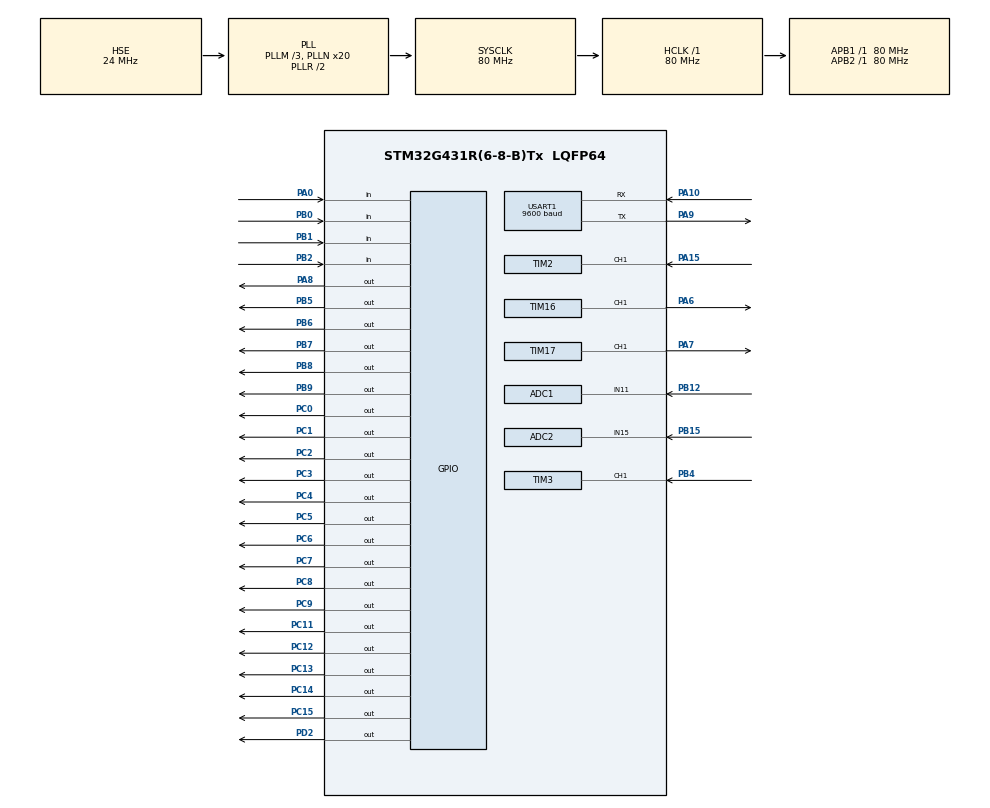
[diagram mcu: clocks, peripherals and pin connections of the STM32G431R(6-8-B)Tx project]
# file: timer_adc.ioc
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ADC1.Channel-0\#ChannelRegularConversion=ADC_CHANNEL_11
ADC1.NbrOfConversionFlag=1
ADC1.OffsetNumber-0\#ChannelRegularConversion=ADC_OFFSET_NONE
ADC1.Rank-0\#ChannelRegularConversion=1
ADC1.SamplingTime-0\#ChannelRegularConversion=ADC_SAMPLETIME_2CYCLES_5
ADC1.master=1
ADC2.Channel-0\#ChannelRegularConversion=ADC_CHANNEL_15
ADC2.NbrOfConversionFlag=1
ADC2.OffsetNumber-0\#ChannelRegularConversion=ADC_OFFSET_NONE
ADC2.Rank-0\#ChannelRegularConversion=1
ADC2.SamplingTime-0\#ChannelRegularConversion=ADC_SAMPLETIME_2CYCLES_5
Mcu.Family=STM32G4
Mcu.Name=STM32G431R(6-8-B)Tx
Mcu.Package=LQFP64
NVIC.PriorityGroup=NVIC_PRIORITYGROUP_4
NVIC.TIM2_IRQn=true\:0\:0\:false\:false\:true\:true\:true\:true
NVIC.TIM3_IRQn=true\:0\:0\:false\:false\:true\:true\:true\:true
NVIC.TIM4_IRQn=true\:0\:0\:false\:false\:true\:true\:true\:true
NVIC.USART1_IRQn=true\:0\:0\:false\:false\:true\:true\:true\:true
PA0.GPIO_PuPd=GPIO_PULLUP
PA0.Signal=GPIO_Input
PA10.Mode=Asynchronous
PA10.Signal=USART1_RX
PA15.Signal=S_TIM2_CH1
PA6.Signal=S_TIM16_CH1
PA7.Signal=S_TIM17_CH1
PA8.Signal=GPIO_Output
PA9.Mode=Asynchronous
PA9.Signal=USART1_TX
PB0.GPIO_PuPd=GPIO_PULLUP
PB0.Signal=GPIO_Input
PB1.GPIO_PuPd=GPIO_PULLUP
PB1.Signal=GPIO_Input
PB12.Mode=IN11-Single-Ended
PB12.Signal=ADC1_IN11
PB15.Mode=IN15-Single-Ended
PB15.Signal=ADC2_IN15
PB2.GPIO_PuPd=GPIO_PULLUP
PB2.Signal=GPIO_Input
PB4.Signal=S_TIM3_CH1
PB5.Signal=GPIO_Output
PB6.Signal=GPIO_Output
PB7.Signal=GPIO_Output
PB8-BOOT0.Signal=GPIO_Output
PB9.Signal=GPIO_Output
PC0.Signal=GPIO_Output
PC1.Signal=GPIO_Output
PC11.PinState=GPIO_PIN_SET
PC11.Signal=GPIO_Output
PC12.PinState=GPIO_PIN_SET
PC12.Signal=GPIO_Output
PC13.PinState=GPIO_PIN_SET
PC13.Signal=GPIO_Output
PC14-OSC32_IN.PinState=GPIO_PIN_SET
PC14-OSC32_IN.Signal=GPIO_Output
PC15-OSC32_OUT.PinState=GPIO_PIN_SET
PC15-OSC32_OUT.Signal=GPIO_Output
PC2.Signal=GPIO_Output
PC3.Signal=GPIO_Output
PC4.Signal=GPIO_Output
PC5.Signal=GPIO_Output
PC6.Signal=GPIO_Output
PC7.Signal=GPIO_Output
PC8.PinState=GPIO_PIN_SET
PC8.Signal=GPIO_Output
PC9.PinState=GPIO_PIN_SET
PC9.Signal=GPIO_Output
PD2.Signal=GPIO_Output
PF0-OSC_IN.Mode=HSE-External-Oscillator
PF0-OSC_IN.Signal=RCC_OSC_IN
PF1-OSC_OUT.Mode=HSE-External-Oscillator
PF1-OSC_OUT.Signal=RCC_OSC_OUT
ProjectManager.HeapSize=0x200
ProjectManager.StackSize=0x400
ProjectManager.TargetToolchain=MDK-ARM V5.32
RCC.ADC12Freq_Value=80000000
RCC.AHBFreq_Value=80000000
RCC.APB1Freq_Value=80000000
RCC.APB1TimFreq_Value=80000000
RCC.APB2Freq_Value=80000000
RCC.APB2TimFreq_Value=80000000
RCC.CortexFreq_Value=80000000
RCC.EXTERNAL_CLOCK_VALUE=12288000
RCC.HCLKFreq_Value=80000000
RCC.HSE_VALUE=24000000
RCC.HSI48_VALUE=48000000
RCC.HSI_VALUE=16000000
RCC.LSE_VALUE=32768
RCC.PLLM=RCC_PLLM_DIV3
RCC.PLLN=20
RCC.PLLSourceVirtual=RCC_PLLSOURCE_HSE
RCC.SYSCLKFreq_VALUE=80000000
RCC.SYSCLKSource=RCC_SYSCLKSOURCE_PLLCLK
RCC.USBFreq_Value=80000000
RCC.VCOOutputFreq_Value=160000000
SH.S_TIM16_CH1.0=TIM16_CH1,PWM Generation1 CH1
SH.S_TIM17_CH1.0=TIM17_CH1,PWM Generation1 CH1
SH.S_TIM2_CH1.0=TIM2_CH1,Input_Capture1_from_TI1
SH.S_TIM3_CH1.0=TIM3_CH1,Input_Capture1_from_TI1
TIM16.Channel=TIM_CHANNEL_1
TIM16.PeriodNoDither=100-1
TIM16.Prescaler=8000-1
TIM16.PulseNoDither_1=10
TIM17.Channel=TIM_CHANNEL_1
TIM17.PeriodNoDither=100-1
TIM17.Prescaler=4000-1
TIM17.PulseNoDither_1=10
TIM2.Channel-Input_Capture1_from_TI1=TIM_CHANNEL_1
TIM2.Channel-Input_Capture2_from_TI1_63=TIM_CHANNEL_2
TIM2.ICPolarity_CH2=TIM_INPUTCHANNELPOLARITY_FALLING
TIM2.Prescaler=80-1
TIM3.Channel-Input_Capture1_from_TI1=TIM_CHANNEL_1
TIM3.Channel-Input_Capture2_from_TI1_63=TIM_CHANNEL_2
TIM3.ICPolarity_CH2=TIM_INPUTCHANNELPOLARITY_FALLING
TIM3.Prescaler=80-1
TIM4.PeriodNoDither=10000-1
TIM4.Prescaler=80-1
USART1.BaudRate=9600
USART1.VirtualMode-Asynchronous=VM_ASYNC
VP_SYS_VS_DBSignals.Mode=DisableDeadBatterySignals
VP_TIM16_VS_ClockSourceINT.Mode=Enable_Timer
VP_TIM17_VS_ClockSourceINT.Mode=Enable_Timer
VP_TIM2_VS_ClockSourceINT.Mode=Internal
VP_TIM2_VS_indirect_ch1.Mode=Input_Capture2_from_TI1_63
VP_TIM3_VS_ClockSourceINT.Mode=Internal
VP_TIM3_VS_indirect_ch1.Mode=Input_Capture2_from_TI1_63
VP_TIM4_VS_ClockSourceINT.Mode=Internal
board=custom

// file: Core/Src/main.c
/* USER CODE BEGIN Header */
/**
  ******************************************************************************
  * @file           : main.c
  * @brief          : Main program body
  ******************************************************************************
  * @attention
  *
  * Copyright (c) 2024 STMicroelectronics.
  * All rights reserved.
  *
  * This software is licensed under terms that can be found in the LICENSE file
  * in the root directory of this software component.
  * If no LICENSE file comes with this software, it is provided AS-IS.
  *
  ******************************************************************************
  */
/* USER CODE END Header */
#include "main.h"
#include "adc.h"
#include "tim.h"
#include "usart.h"
#include "gpio.h"

/* USER CODE BEGIN Includes */
#include "led.h"
#include "lcd.h"
#include "i2c_hal.h"
#include "timer.h"
#include "myusart.h"
#include "myadc.h"
#include "stdio.h"
#include "String.h"

/* USER CODE END Includes */

void SystemClock_Config(void);
/* USER CODE BEGIN PFP */
void lcd_proc(void);
void key_proc(void);

/* USER CODE END PFP */

/* USER CODE BEGIN 0 */

//lcd灯
unsigned char ucled=0x00;

//保存lcd显示屏的要显示的数据
unsigned char text[30];

//减速函数
__IO uint32_t uwTick_lcd;//控制lcd显示的速度

//pa6\pa7的占空比
unsigned char pa6_duty=10;
unsigned char pa7_duty=10;

//pb15\pb12的电压
double pb15_v=0;//R37
double pb12_v=0;//R38

/* USER CODE END 0 */

int main(void)
{

  /* MCU Configuration--------------------------------------------------------*/

  /* Reset of all peripherals, Initializes the Flash interface and the Systick. */
  HAL_Init();

  /* Configure the system clock */
  SystemClock_Config();

  /* Initialize all configured peripherals */
  MX_GPIO_Init();
  MX_ADC1_Init();
  MX_ADC2_Init();
  MX_TIM2_Init();
  MX_TIM3_Init();
  MX_TIM4_Init();
  MX_TIM16_Init();
  MX_TIM17_Init();
  MX_USART1_UART_Init();
  /* USER CODE BEGIN 2 */
    led_disp(ucled);

    LCD_Init();
    LCD_Clear(White);
    LCD_SetBackColor(White);
    LCD_SetTextColor(Blue2);

    //使能定时器4
    HAL_TIM_Base_Start_IT(&htim4);

    //打开定时器PWM输出
    HAL_TIM_PWM_Start(&htim16,TIM_CHANNEL_1);
    HAL_TIM_PWM_Start(&htim17,TIM_CHANNEL_1);

    //打开定时器输入捕获
    HAL_TIM_IC_Start_IT(&htim2,TIM_CHANNEL_1);
    HAL_TIM_IC_Start_IT(&htim3,TIM_CHANNEL_1);

    HAL_UART_Receive_IT(&huart1,&rxdat,1);

  /* USER CODE END 2 */

  /* Infinite loop */
  while (1)
  {
      key_proc();
    lcd_proc();
  }
}

void SystemClock_Config(void)
{
  RCC_OscInitTypeDef RCC_OscInitStruct = {0};
  RCC_ClkInitTypeDef RCC_ClkInitStruct = {0};

  /** Configure the main internal regulator output voltage
  */
  HAL_PWREx_ControlVoltageScaling(PWR_REGULATOR_VOLTAGE_SCALE1);

  /** Initializes the RCC Oscillators according to the specified parameters
  * in the RCC_OscInitTypeDef structure.
  */
  RCC_OscInitStruct.OscillatorType = RCC_OSCILLATORTYPE_HSE;
  RCC_OscInitStruct.HSEState = RCC_HSE_ON;
  RCC_OscInitStruct.PLL.PLLState = RCC_PLL_ON;
  RCC_OscInitStruct.PLL.PLLSource = RCC_PLLSOURCE_HSE;
  RCC_OscInitStruct.PLL.PLLM = RCC_PLLM_DIV3;
  RCC_OscInitStruct.PLL.PLLN = 20;
  RCC_OscInitStruct.PLL.PLLP = RCC_PLLP_DIV2;
  RCC_OscInitStruct.PLL.PLLQ = RCC_PLLQ_DIV2;
  RCC_OscInitStruct.PLL.PLLR = RCC_PLLR_DIV2;
  if (HAL_RCC_OscConfig(&RCC_OscInitStruct) != HAL_OK)
  {
    Error_Handler();
  }

  /** Initializes the CPU, AHB and APB buses clocks
  */
  RCC_ClkInitStruct.ClockType = RCC_CLOCKTYPE_HCLK|RCC_CLOCKTYPE_SYSCLK
                              |RCC_CLOCKTYPE_PCLK1|RCC_CLOCKTYPE_PCLK2;
  RCC_ClkInitStruct.SYSCLKSource = RCC_SYSCLKSOURCE_PLLCLK;
  RCC_ClkInitStruct.AHBCLKDivider = RCC_SYSCLK_DIV1;
  RCC_ClkInitStruct.APB1CLKDivider = RCC_HCLK_DIV1;
  RCC_ClkInitStruct.APB2CLKDivider = RCC_HCLK_DIV1;

  if (HAL_RCC_ClockConfig(&RCC_ClkInitStruct, FLASH_LATENCY_2) != HAL_OK)
  {
    Error_Handler();
  }
}

/* USER CODE BEGIN 4 */

void lcd_proc(void)
{
    if((uwTick-uwTick_lcd)<200)return;
    uwTick_lcd=uwTick;
    //第二行显示pa6的占空比
    sprintf((char *)text,"pa6_duty:%d %%",pa6_duty);
    LCD_DisplayStringLine(Line1,text);
    //第三行显示pa7的占空比
    sprintf((char *)text,"pa7_duty:%d %%",pa7_duty);
    LCD_DisplayStringLine(Line2,text);
    //第四行显示R39(tim3)的频率frq2;
    sprintf((char *)text,"tim3_frq2:%d HZ",frq2);
    LCD_DisplayStringLine(Line3,text);
    //第五行显示R39(tim3)的占空比duty2；
    sprintf((char *)text,"tim3_duty2:%0.3f %%",duty2);
    LCD_DisplayStringLine(Line4,text);
    //第六行显示R40(tim2)的频率frq1;
    sprintf((char *)text,"tim2_frq1:%d HZ",frq1);
    LCD_DisplayStringLine(Line5,text);
    //第七行显示R40(tim2)的占空比duty1;
    sprintf((char *)text,"tim1_duty1:%0.3f %%",duty1);
    LCD_DisplayStringLine(Line6,text);
    //第八行读出存储在eeprom中的频率
    unsigned int eeprom_temp=(eeprom_read(1)<<8)+eeprom_read(2);
    sprintf((char *)text,"eeprom_frq:%d HZ",eeprom_temp);
    LCD_DisplayStringLine(Line7,text);
    //第九行读出pb15(R37)的电压
     sprintf((char *)text,"pb15_v:%0.2f V",pb15_v);
    LCD_DisplayStringLine(Line8,text);
    //第十行读出pb12(R38)的电压
     sprintf((char *)text,"pb12_v:%0.3f V",pb12_v);
    LCD_DisplayStringLine(Line9,text);
}

void key_proc(void)
{
    if(1==key[0].single_flag)
    {
     sprintf((char *)text,"%s","key1down");
     LCD_DisplayStringLine(Line0,text);
        ucled=ucled|0x01;
        key[0].single_flag=0;
    }
    else if(1==key[1].single_flag)//将tim2的频率保存到eeprom
    {
     sprintf((char *)text,"%s","key2down");
     LCD_DisplayStringLine(Line0,text);
        ucled=ucled&0xfe;
        unsigned char frq_h;
        unsigned char frq_l;
        frq_h=frq1>>8;
        frq_l=(frq1&0xff);
        eeprom_write(1,frq_h);
        HAL_Delay(10);//十毫秒
        eeprom_write(2,frq_l);
        key[1].single_flag=0;
    }
    else if(1==key[2].single_flag)//pa6的占空比增加
    {
        sprintf((char *)text,"%s","key3down");
        LCD_DisplayStringLine(Line0,text);
        ucled=ucled|0x02;
        pa6_duty+=10;
        if(pa6_duty>=100)pa6_duty=10;
        __HAL_TIM_SetCompare(&htim16,TIM_CHANNEL_1,pa6_duty);
        key[2].single_flag=0;
    }
    else if(1==key[3].single_flag)//pa7的占空比增加
    {
        sprintf((char *)text,"%s","key3down");
        LCD_DisplayStringLine(Line0,text);
        ucled=ucled&0xfd;
         pa7_duty+=10;
        if(pa7_duty>=100)pa7_duty=10;
        __HAL_TIM_SetCompare(&htim17,TIM_CHANNEL_1,pa6_duty);
        key[3].single_flag=0;
    }
    pb12_v=get_adc(&hadc1);//pb12
    pb15_v=get_adc(&hadc2);//pb15
    led_disp(ucled);
}

/* USER CODE END 4 */

void Error_Handler(void)
{
  __disable_irq();
  while (1)
  {
  }
}
